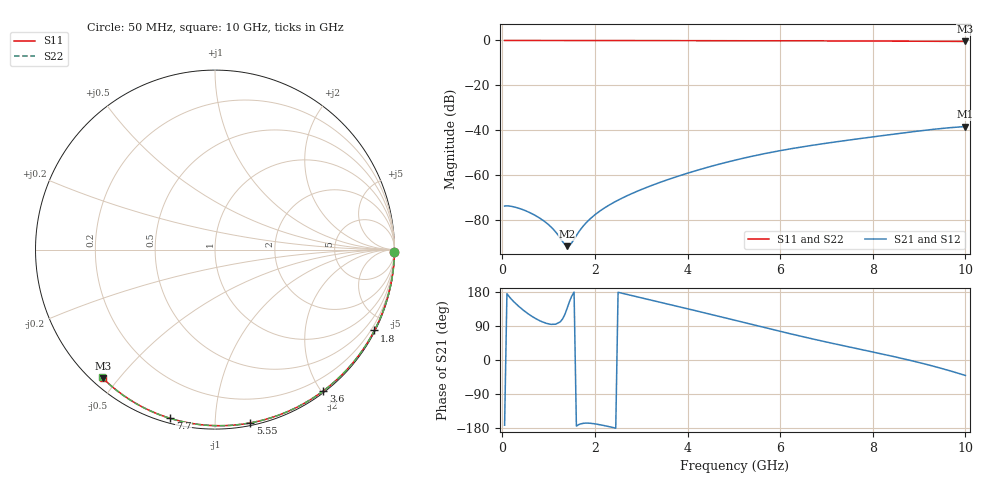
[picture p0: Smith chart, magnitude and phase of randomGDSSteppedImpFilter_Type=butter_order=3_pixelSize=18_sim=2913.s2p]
! freq	dB(S11)	phase(S11)	dB(S12)	phase(S12)
!  dB(S21)	phase(S21)	dB(S22)	phase(S22)
!S-par simulation data
#  GHz  S  DB  R 50
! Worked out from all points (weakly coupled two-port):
!   200 points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, 50 MHz to 10 GHz, reference 50 ohm
!   highest |S21| = -38.29 dB at 10 GHz (marker M1); lowest = -91.4 dB at 1.4 GHz (marker M2)
!   lowest |S11| = -0.4 dB at 10 GHz (marker M3), VSWR 39.47, Z = 1.53 - j22.7 ohm
!   |S11| at or under -10 dB: nowhere
!   |S22| runs from -0.4 to 0.0 dB; largest |S21 - S12| = 0
!   S11 on the Smith chart (normalised r, x): 50 MHz: open; 1.8 GHz: 0.04, -4.19; 3.6 GHz: 0.02, -2.03; 5.55 GHz: 0.02, -1.22; 7.7 GHz: 0.02, -0.77; 10 GHz: 0.03, -0.45
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0.05  -0.00 -0.8  -73.61 -172.0  -73.61 -172.0  -0.00 -0.8
0.2  -0.00 -3.0  -73.75 160.0  -73.75 160.0  -0.00 -3.0
0.4  -0.00 -6.1  -74.87 136.9  -74.87 136.9  -0.00 -6.1
0.65  -0.01 -9.8  -77.09 114.4  -77.09 114.4  -0.01 -9.9
0.9  -0.02 -13.6  -80.24 99.0  -80.24 99.0  -0.01 -13.6
1.4  -0.03 -21.0  -91.43 136.3  -91.43 136.3  -0.03 -21.1
1.75  -0.03 -26.1  -82.44 -167.1  -82.44 -167.1  -0.03 -26.2
1.8  -0.03 -26.9  -81.27 -166.5  -81.27 -166.5  -0.03 -27.0
1.85  -0.04 -27.6  -80.21 -166.6  -80.21 -166.6  -0.04 -27.7
2.15  -0.04 -32.0  -75.20 -171.8  -75.20 -171.8  -0.04 -32.1
2.55  -0.05 -37.8  -70.44 177.2  -70.44 177.2  -0.05 -37.9
2.95  -0.06 -43.5  -66.69 165.6  -66.69 165.6  -0.06 -43.6
3.4  -0.07 -49.8  -63.11 152.6  -63.11 152.6  -0.07 -49.9
3.6  -0.07 -52.6  -61.67 146.8  -61.67 146.8  -0.07 -52.7
4.3  -0.09 -62.1  -57.15 126.4  -57.15 126.4  -0.09 -62.3
5.05  -0.11 -72.1  -53.08 104.1  -53.08 104.1  -0.11 -72.3
5.55  -0.13 -78.5  -50.78 89.0  -50.78 89.0  -0.13 -78.8
6.7  -0.18 -92.9  -46.58 55.6  -46.58 55.6  -0.18 -93.2
7.7  -0.24 -104.8  -43.68 28.9  -43.68 28.9  -0.24 -105.2
8.35  -0.29 -112.4  -41.92 11.8  -41.92 11.8  -0.29 -112.8
9.35  -0.38 -123.8  -39.40 -17.7  -39.40 -17.7  -0.37 -124.3
10  -0.44 -131.2  -38.29 -40.7  -38.29 -40.7  -0.45 -131.6
